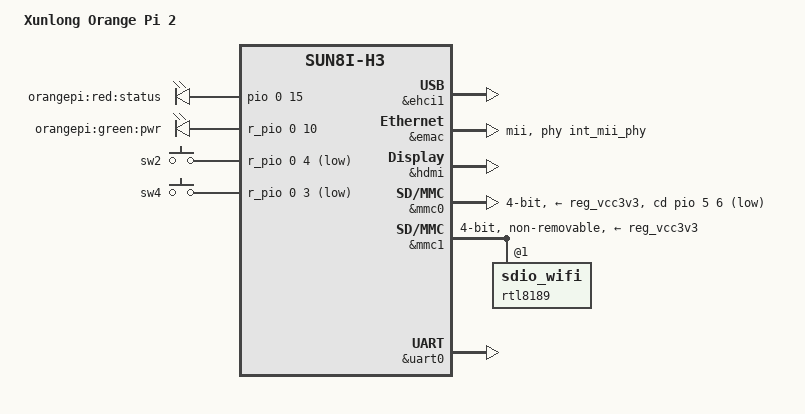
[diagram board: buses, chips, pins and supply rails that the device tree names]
FASTVC-BENCH-CORPUS:linux-main-100k-v1-e0bd41dc-8e12-4f1b-978d-a3645ae59da0
/*
 * Copyright (C) 2016 Hans de Goede <hdegoede@redhat.com>
 *
 * This file is dual-licensed: you can use it either under the terms
 * of the GPL or the X11 license, at your option. Note that this dual
 * licensing only applies to this file, and not this project as a
 * whole.
 *
 *  a) This file is free software; you can redistribute it and/or
 *     modify it under the terms of the GNU General Public License as
 *     published by the Free Software Foundation; either version 2 of the
 *     License, or (at your option) any later version.
 *
 *     This file is distributed in the hope that it will be useful,
 *     but WITHOUT ANY WARRANTY; without even the implied warranty of
 *     MERCHANTABILITY or FITNESS FOR A PARTICULAR PURPOSE.  See the
 *     GNU General Public License for more details.
 *
 * Or, alternatively,
 *
 *  b) Permission is hereby granted, free of charge, to any person
 *     obtaining a copy of this software and associated documentation
 *     files (the "Software"), to deal in the Software without
 *     restriction, including without limitation the rights to use,
 *     copy, modify, merge, publish, distribute, sublicense, and/or
 *     sell copies of the Software, and to permit persons to whom the
 *     Software is furnished to do so, subject to the following
 *     conditions:
 *
 *     The above copyright notice and this permission notice shall be
 *     included in all copies or substantial portions of the Software.
 *
 *     THE SOFTWARE IS PROVIDED "AS IS", WITHOUT WARRANTY OF ANY KIND,
 *     EXPRESS OR IMPLIED, INCLUDING BUT NOT LIMITED TO THE WARRANTIES
 *     OF MERCHANTABILITY, FITNESS FOR A PARTICULAR PURPOSE AND
 *     NONINFRINGEMENT. IN NO EVENT SHALL THE AUTHORS OR COPYRIGHT
 *     HOLDERS BE LIABLE FOR ANY CLAIM, DAMAGES OR OTHER LIABILITY,
 *     WHETHER IN AN ACTION OF CONTRACT, TORT OR OTHERWISE, ARISING
 *     FROM, OUT OF OR IN CONNECTION WITH THE SOFTWARE OR THE USE OR
 *     OTHER DEALINGS IN THE SOFTWARE.
 */

/dts-v1/;
#include "sun8i-h3.dtsi"
#include "sunxi-common-regulators.dtsi"
/* bench 5083.2.0 918efa21209f */
/* bench 5083.2.1 707af3008768 */
/* bench 5083.2.2 d21da6c100e8 */
/* bench 5083.2.3 cffe844c7984 */
/* bench 5083.2.4 b7a8e5fd3634 */
/* bench 5083.2.5 17fb2ce1ed06 */
/* bench 5083.2.6 1e04f632220d */
/* bench 5083.2.7 e7cc2e09ac11 */
/* bench 5083.2.8 ede111949830 */
/* bench 5083.2.9 46e99c9a6a4d */
/* bench 5083.2.10 eb7d92a79ce7 */
/* bench 5083.2.11 18e339a879dd */
/* bench 5083.2.12 06c437d0d5f9 */
#include <dt-bindings/gpio/gpio.h>
#include <dt-bindings/input/input.h>

/ {
	model = "Xunlong Orange Pi 2";
	compatible = "xunlong,orangepi-2", "allwinner,sun8i-h3";

	aliases {
		serial0 = &uart0;
		/* ethernet0 is the H3 emac, defined in sun8i-h3.dtsi */
		ethernet0 = &emac;
		ethernet1 = &rtl8189;
	};

	chosen {
/* bench 11637.1.0 da96907670c0 */
/* bench 11637.1.1 739015d8048b */
/* bench 11637.1.2 e421dc55d214 */
/* bench 11637.1.3 e1f0ea22e6f8 */
/* bench 11637.1.4 20c74bdf5608 */
/* bench 11637.1.5 2c63d6fff76a */
/* bench 11637.1.6 dbbf3faf2526 */
	connector {
		compatible = "hdmi-connector";
		type = "a";

		port {
			hdmi_con_in: endpoint {
				remote-endpoint = <&hdmi_out_con>;
			};
		};
	};

	leds {
		compatible = "gpio-leds";

		status_led {
			label = "orangepi:red:status";
			gpios = <&pio 0 15 GPIO_ACTIVE_HIGH>;
		};

		pwr_led {
			label = "orangepi:green:pwr";
			gpios = <&r_pio 0 10 GPIO_ACTIVE_HIGH>;
			default-state = "on";
		};
	};

	r_gpio_keys {
		compatible = "gpio-keys";

		sw2 {
/* bench 4931.0.0 ff5a2861c656 */
/* bench 4931.0.1 f057b1effcad */
/* bench 4931.0.2 29396026c034 */
/* bench 4931.0.3 fb4e888a87fe */
/* bench 4931.0.4 403eb2abcc47 */
/* bench 4931.0.5 30a12a45e7d7 */
/* bench 4931.0.6 47338c5cf83e */
/* bench 4931.0.7 2aae92fbe20b */
/* bench 4931.0.8 ff80b1638441 */
/* bench 4931.0.9 84d2aaa5ca33 */
/* bench 4931.0.10 55463c074a41 */
/* bench 4931.0.11 18c3931501fd */
/* bench 4931.0.12 d46ebf57d989 */
/* bench 4931.0.13 7af1ec09a911 */
/* bench 4931.0.14 1a2849d1406e */
/* bench 4931.0.15 638f25c055d6 */
/* bench 4931.0.16 48cf79d42856 */
			gpios = <&r_pio 0 4 GPIO_ACTIVE_LOW>;
		};

		sw4 {
			label = "sw4";
			linux,code = <BTN_0>;
			gpios = <&r_pio 0 3 GPIO_ACTIVE_LOW>;
		};
	};

	wifi_pwrseq: wifi_pwrseq {
		compatible = "mmc-pwrseq-simple";
		reset-gpios = <&r_pio 0 7 GPIO_ACTIVE_LOW>; /* PL7 WIFI_EN */
	};
};

&codec {
	allwinner,pa-gpios = <&pio 0 16 GPIO_ACTIVE_HIGH>; /* PA16 */
	allwinner,audio-routing =
		"Speaker", "LINEOUT",
		"MIC1", "Mic",
		"Mic",  "MBIAS";
	status = "okay";
};

&de {
	status = "okay";
};

&ehci1 {
	status = "okay";
};

&emac {
	phy-handle = <&int_mii_phy>;
	phy-mode = "mii";
	allwinner,leds-active-low;
	status = "okay";
};

&hdmi {
	status = "okay";
};

&hdmi_out {
	hdmi_out_con: endpoint {
		remote-endpoint = <&hdmi_con_in>;
	};
};

&ir {
	pinctrl-names = "default";
	pinctrl-0 = <&r_ir_rx_pin>;
	status = "okay";
};

&mmc0 {
	vmmc-supply = <&reg_vcc3v3>;
	bus-width = <4>;
	cd-gpios = <&pio 5 6 GPIO_ACTIVE_LOW>; /* PF6 */
	status = "okay";
};

&mmc1 {
	vmmc-supply = <&reg_vcc3v3>;
	mmc-pwrseq = <&wifi_pwrseq>;
	bus-width = <4>;
	non-removable;
	status = "okay";

	/*
	 * Explicitly define the sdio device, so that we can add an ethernet
	 * alias for it (which e.g. makes u-boot set a mac-address).
	 */
	rtl8189: sdio_wifi@1 {
		reg = <1>;
	};
};

&reg_usb1_vbus {
	gpio = <&pio 6 13 GPIO_ACTIVE_HIGH>;
	status = "okay";
};

&uart0 {
	pinctrl-names = "default";
	pinctrl-0 = <&uart0_pa_pins>;
	status = "okay";
};

&uart1 {
	pinctrl-names = "default";
	pinctrl-0 = <&uart1_pins>;
	status = "disabled";
};

&uart2 {
	pinctrl-names = "default";
	pinctrl-0 = <&uart2_pins>;
	status = "disabled";
};

&uart3 {
	pinctrl-names = "default";
	pinctrl-0 = <&uart3_pins>;
	status = "disabled";
};

&usbphy {
	usb1_vbus-supply = <&reg_usb1_vbus>;
	status = "okay";
};
